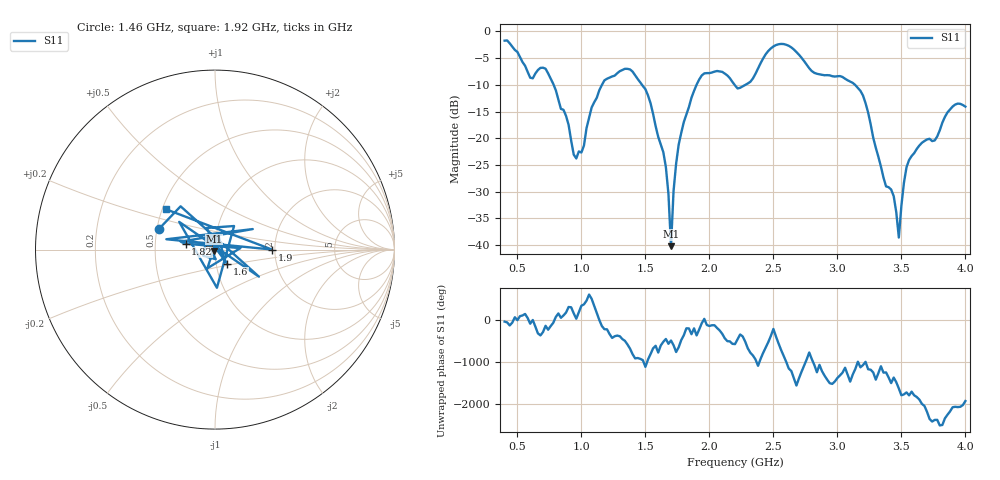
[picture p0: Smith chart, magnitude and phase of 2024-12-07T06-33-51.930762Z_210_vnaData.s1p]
!Created with skrf (http://scikit-rf.org).
# Hz S RI R 50.0
!freq ReS11 ImS11
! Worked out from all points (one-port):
!   181 points, 400 MHz to 4 GHz, reference 50 ohm
!   lowest |S11| = -40.2 dB at 1.7 GHz (marker M1), VSWR 1.02, Z = 49.5 - j0.82 ohm
!   |S11| at or under -10 dB: 782.8 MHz to 1.161 GHz (378 MHz wide, 38.9 % of centre); 1.473 GHz to 1.9 GHz (426.5 MHz wide, 25.3 % of centre); 3.137 GHz to end of sweep (the widest 3 of 4)
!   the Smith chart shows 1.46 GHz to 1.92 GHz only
!   S11 on the Smith chart (normalised r, x): 1.46 GHz: 0.51, +0.13; 1.6 GHz: 1.13, -0.18; 1.82 GHz: 0.72, +0.05; 1.9 GHz: 1.93, +0.00; 1.92 GHz: 0.52, +0.27
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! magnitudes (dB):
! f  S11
! 400 MHz  -1.7
! 600 MHz  -8.7
! 720 MHz  -7.0
! 860 MHz  -14.7
! 960 MHz  -23.8
! 1.16 GHz  -10.0
! 1.3 GHz  -7.5
! 1.46 GHz  -9.6
! 1.6 GHz  -19.7
! 1.66 GHz  -25.4
! 1.68 GHz  -30.4
! 1.7 GHz  -40.2
! 1.72 GHz  -29.9
! 1.76 GHz  -21.2
! 1.82 GHz  -15.5
! 1.9 GHz  -10.0
! 1.92 GHz  -9.0
! 2.2 GHz  -10.1
! 2.5 GHz  -2.8
! 2.66 GHz  -3.4
! 3.1 GHz  -9.4
! 3.22 GHz  -13.4
! 3.38 GHz  -29.0
! 3.44 GHz  -30.8
! 3.48 GHz  -38.6
! 3.52 GHz  -28.3
! 3.56 GHz  -24.1
! 4 GHz  -14.1
